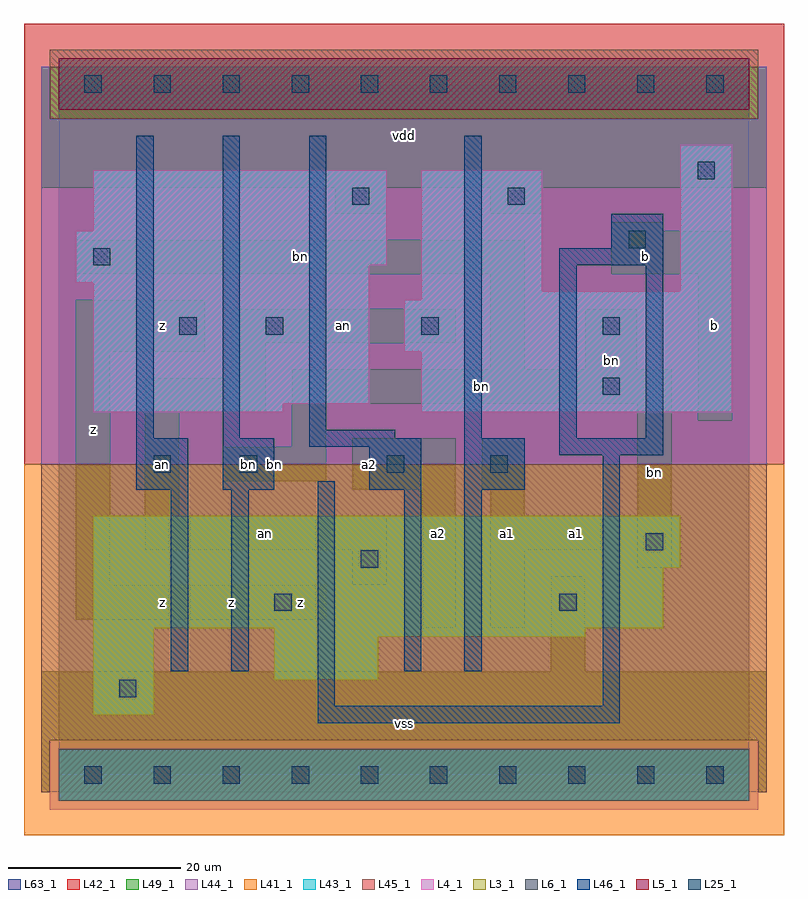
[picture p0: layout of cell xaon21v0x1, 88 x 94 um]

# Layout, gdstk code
import gdstk
lib = gdstk.Library(unit=1e-6, precision=1e-09)
def R(c, l, rs):  # rectangles x0, y0, x1, y1
    for r in rs: c.add(gdstk.rectangle(r[:2], r[2:], *l))
def A(c, l, x, y, w, h, nx, ny, dx, dy):  # array of equal rectangles
    R(c, l, [(x+i*dx, y+j*dy, x+i*dx+w, y+j*dy+h) for i in range(nx) for j in range(ny)])
L3_1 = (3, 1)
L4_1 = (4, 1)
L5_1 = (5, 1)
L6_1 = (6, 1)
L25_1 = (25, 1)
L41_1 = (41, 1)
L42_1 = (42, 1)
L43_1 = (43, 1)
L44_1 = (44, 1)
L45_1 = (45, 1)
L46_1 = (46, 1)
L49_1 = (49, 1)
L63_1 = (63, 1)

xaon21v0x1 = lib.new_cell('xaon21v0x1')
R(xaon21v0x1, L3_1, [(4,7,11,17), (25,11,37,16), (25,16,61,17), (4,17,70,24), (4,24,72,30)])
R(xaon21v0x1, L4_1, [(4,42,26,43), (42,42,78,49), (4,43,36,57), (40,49,78,55), (42,55,78,56), (42,56,56,70), (72,56,78,73), (2,57,36,59), (2,59,38,63), (4,63,38,70)])
R(xaon21v0x1, L5_1, [(0,77,80,83)])
R(xaon21v0x1, L6_1, [(0,-3,80,3), (0,-3,80,3)])
A(xaon21v0x1, L25_1, 3, -1, 2, 2, 10, 2, 8, 80)
R(xaon21v0x1, L25_1, [(7,9,9,11), (25,19,27,21), (58,19,60,21), (35,24,37,26), (68,26,70,28), (11,35,13,37), (21,35,23,37), (38,35,40,37), (50,35,52,37), (63,44,65,46), (14,51,16,53), (24,51,26,53), (42,51,44,53), (63,51,65,53), (4,59,6,61), (66,61,68,63), (34,66,36,68), (52,66,54,68), (74,69,76,71)])
R(xaon21v0x1, L41_1, [(-4,-7,84,36)])
R(xaon21v0x1, L42_1, [(-4,36,84,87)])
R(xaon21v0x1, L43_1, [(0,-3,80,3), (4,7,11,17), (25,11,37,16), (25,16,61,17), (4,17,70,24), (4,24,72,30), (4,42,26,43), (42,42,78,49), (4,43,36,57), (40,49,78,55), (42,55,78,56), (42,56,56,70), (72,56,78,73), (2,57,36,59), (2,59,38,63), (4,63,38,70), (0,77,80,83)])
R(xaon21v0x1, L44_1, [(-1,-4,81,4), (-2,36,82,76), (-2,76,-1,82), (81,76,82,82)])
R(xaon21v0x1, L45_1, [(-2,-2,-1,4), (81,-2,82,4), (-2,4,82,36), (-1,76,81,84)])
R(xaon21v0x1, L46_1, [(30,6,65,8), (30,8,32,34), (63,8,65,37), (13,12,15,33), (20,12,22,33), (40,12,42,33), (47,12,49,33), (9,33,15,39), (19,33,25,39), (36,33,42,38), (47,33,54,39), (58,37,70,39), (29,38,42,39), (9,39,11,74), (19,39,21,74), (29,39,39,40), (47,39,49,74), (58,39,60,59), (68,39,70,59), (29,40,31,74), (58,59,70,61), (64,61,70,65)])
R(xaon21v0x1, L49_1, [(-2,-2,82,12), (57,12,61,23), (42,17,46,33), (50,17,54,26), (2,18,31,22), (2,22,6,49), (34,22,38,26), (67,24,71,43), (10,26,38,30), (50,26,63,30), (10,30,14,42), (50,30,54,33), (34,33,46,39), (49,33,54,39), (19,34,31,38), (27,38,31,43), (74,41,78,58), (10,42,24,46), (27,43,71,47), (20,46,24,50), (50,47,54,58), (61,47,67,54), (2,49,17,55), (20,50,46,54), (2,58,54,62), (64,58,78,63), (64,63,70,64), (32,65,38,68), (50,65,56,68), (-2,68,82,82)])
R(xaon21v0x1, L63_1, [(0,0,80,80)])
xaon21v0x1.add(gdstk.Label('an', (12,36), layer=49, texttype=1))
xaon21v0x1.add(gdstk.Label('bn', (22,36), layer=49, texttype=1))
xaon21v0x1.add(gdstk.Label('z', (4,40), layer=49, texttype=1))
xaon21v0x1.add(gdstk.Label('z', (12,20), layer=49, texttype=1))
xaon21v0x1.add(gdstk.Label('z', (20,20), layer=49, texttype=1))
xaon21v0x1.add(gdstk.Label('z', (28,20), layer=49, texttype=1))
xaon21v0x1.add(gdstk.Label('an', (12,36), layer=49, texttype=1))
xaon21v0x1.add(gdstk.Label('z', (12,52), layer=49, texttype=1))
xaon21v0x1.add(gdstk.Label('vss', (40,6), layer=49, texttype=1))
xaon21v0x1.add(gdstk.Label('an', (24,28), layer=49, texttype=1))
xaon21v0x1.add(gdstk.Label('a2', (44,28), layer=49, texttype=1))
xaon21v0x1.add(gdstk.Label('bn', (25,36), layer=49, texttype=1))
xaon21v0x1.add(gdstk.Label('a2', (36,36), layer=49, texttype=1))
xaon21v0x1.add(gdstk.Label('an', (33,52), layer=49, texttype=1))
xaon21v0x1.add(gdstk.Label('vdd', (40,74), layer=49, texttype=1))
xaon21v0x1.add(gdstk.Label('a1', (52,28), layer=49, texttype=1))
xaon21v0x1.add(gdstk.Label('a1', (60,28), layer=49, texttype=1))
xaon21v0x1.add(gdstk.Label('bn', (28,60), layer=49, texttype=1))
xaon21v0x1.add(gdstk.Label('bn', (69,35), layer=49, texttype=1))
xaon21v0x1.add(gdstk.Label('bn', (49,45), layer=49, texttype=1))
xaon21v0x1.add(gdstk.Label('b', (76,52), layer=49, texttype=1))
xaon21v0x1.add(gdstk.Label('bn', (64,48), layer=49, texttype=1))
xaon21v0x1.add(gdstk.Label('b', (68,60), layer=49, texttype=1))

lib.write_gds('xaon21v0x1.gds')
